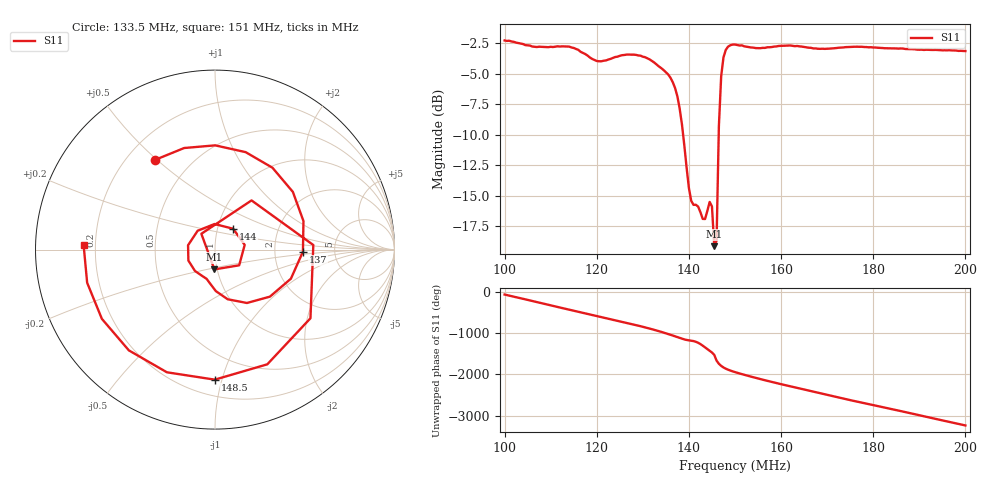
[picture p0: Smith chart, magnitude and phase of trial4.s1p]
#  HZ  S  RI  R  50.00
! Rohde & Schwarz ZVA40 2Ports - Version 3.12 - 1145.1110k40 SN: 100360
! Date: 2019-07-29 15:28:50
! Measurement: S11
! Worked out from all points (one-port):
!   201 points, 100 MHz to 200 MHz, reference 50 ohm
!   lowest |S11| = -19.1 dB at 145.5 MHz (marker M1), VSWR 1.25, Z = 48.5 - j10.8 ohm
!   |S11| at or under -10 dB: 138.7 MHz to 146.5 MHz (7.728 MHz wide, 5.42 % of centre)
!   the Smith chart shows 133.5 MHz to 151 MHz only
!   S11 on the Smith chart (normalised r, x): 133.5 MHz: 0.32, +0.49; 137 MHz: 2.92, -0.09; 144 MHz: 1.19, +0.28; 148.5 MHz: 0.31, -0.95; 151 MHz: 0.15, +0.02
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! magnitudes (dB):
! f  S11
! 100 MHz  -2.3
! 112.5 MHz  -2.8
! 120 MHz  -4.0
! 125 MHz  -3.6
! 129.5 MHz  -3.5
! 133.5 MHz  -4.4
! 137 MHz  -6.2
! 137.5 MHz  -6.9
! 138.5 MHz  -9.2
! 140 MHz  -14.4
! 140.5 MHz  -15.4
! 142 MHz  -15.9
! 143 MHz  -16.9
! 144 MHz  -16.2
! 144.5 MHz  -15.5
! 145 MHz  -15.9
! 145.5 MHz  -19.1
! 146 MHz  -18.7
! 146.5 MHz  -9.3
! 147 MHz  -5.2
! 147.5 MHz  -3.7
! 148.5 MHz  -2.8
! 150 MHz  -2.6
! 151 MHz  -2.7
! 162.5 MHz  -2.7
! 175 MHz  -2.8
! 187.5 MHz  -3.0
! 200 MHz  -3.2
